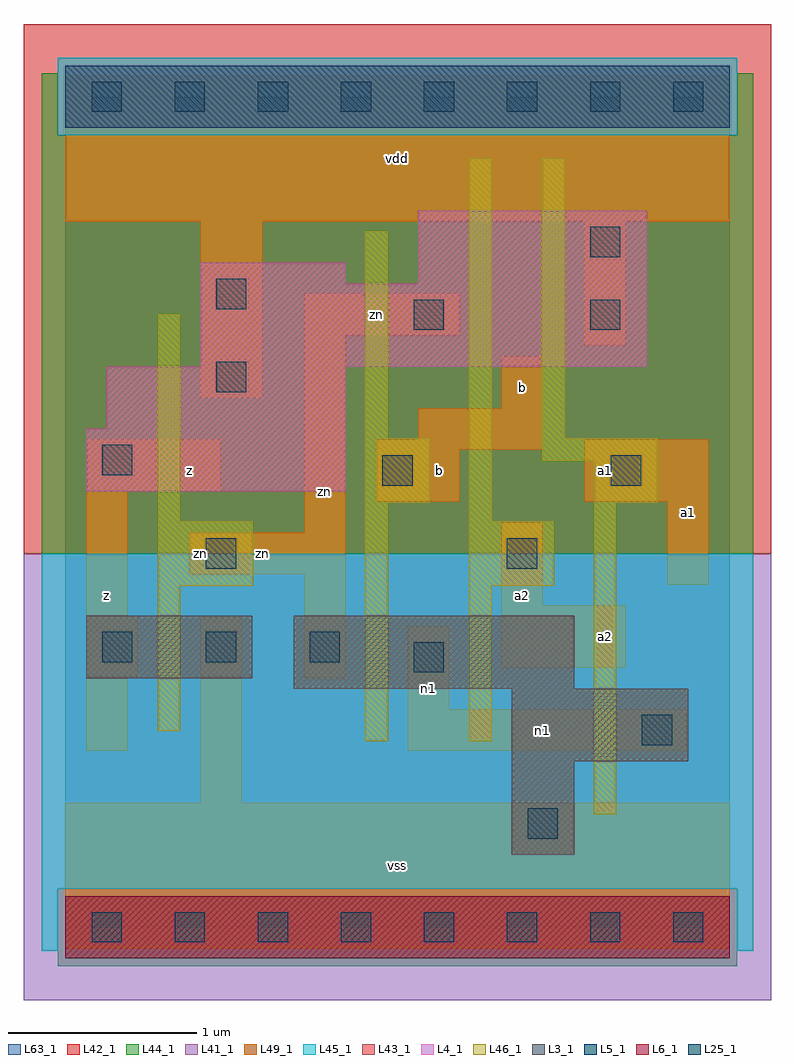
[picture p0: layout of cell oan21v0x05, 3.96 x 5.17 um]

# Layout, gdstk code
import gdstk
lib = gdstk.Library(unit=1e-6, precision=1e-09)
def R(c, l, rs):  # rectangles x0, y0, x1, y1
    for r in rs: c.add(gdstk.rectangle(r[:2], r[2:], *l))
def A(c, l, x, y, w, h, nx, ny, dx, dy):  # array of equal rectangles
    R(c, l, [(x+i*dx, y+j*dy, x+i*dx+w, y+j*dy+h) for i in range(nx) for j in range(ny)])
L3_1 = (3, 1)
L4_1 = (4, 1)
L5_1 = (5, 1)
L6_1 = (6, 1)
L25_1 = (25, 1)
L41_1 = (41, 1)
L42_1 = (42, 1)
L43_1 = (43, 1)
L44_1 = (44, 1)
L45_1 = (45, 1)
L46_1 = (46, 1)
L49_1 = (49, 1)
L63_1 = (63, 1)

oan21v0x05 = lib.new_cell('oan21v0x05')
R(oan21v0x05, L3_1, [(2.365,0.385,2.695,0.88), (2.365,0.88,3.3,1.265), (1.21,1.265,2.695,1.65), (0.11,1.32,0.99,1.65)])
R(oan21v0x05, L4_1, [(0.11,2.31,1.485,2.64), (0.22,2.64,1.485,2.97), (0.715,2.97,3.08,3.41), (0.715,3.41,1.485,3.52), (1.87,3.41,3.08,3.795)])
R(oan21v0x05, L5_1, [(0,4.235,3.52,4.565)])
R(oan21v0x05, L6_1, [(0,-0.165,3.52,0.165)])
A(oan21v0x05, L25_1, 0.14, -0.08, 0.16, 0.16, 8, 2, 0.44, 4.4)
A(oan21v0x05, L25_1, 0.195, 1.405, 0.16, 0.16, 3, 1, 0.55, 0)
R(oan21v0x05, L25_1, [(2.45,0.47,2.61,0.63), (3.055,0.965,3.215,1.125), (1.845,1.35,2.005,1.51), (0.745,1.9,0.905,2.06), (2.34,1.9,2.5,2.06), (1.68,2.34,1.84,2.5), (2.89,2.34,3.05,2.5), (0.195,2.395,0.355,2.555), (0.8,2.835,0.96,2.995), (1.845,3.165,2.005,3.325), (2.78,3.165,2.94,3.325), (0.8,3.275,0.96,3.435), (2.78,3.55,2.94,3.71)])
R(oan21v0x05, L41_1, [(-0.22,-0.385,3.74,1.98)])
R(oan21v0x05, L42_1, [(-0.22,1.98,3.74,4.785)])
R(oan21v0x05, L43_1, [(0,-0.165,3.52,0.165), (2.365,0.385,2.695,0.88), (2.365,0.88,3.3,1.265), (1.21,1.265,2.695,1.65), (0.11,1.32,0.99,1.65), (0.11,2.31,1.485,2.64), (0.22,2.64,1.485,2.97), (0.715,2.97,3.08,3.41), (0.715,3.41,1.485,3.52), (1.87,3.41,3.08,3.795), (0,4.235,3.52,4.565)])
R(oan21v0x05, L44_1, [(-0.04,-0.205,3.56,0.205), (-0.125,1.98,3.645,4.195), (-0.125,4.195,-0.04,4.525), (3.56,4.195,3.645,4.525)])
R(oan21v0x05, L45_1, [(-0.125,-0.125,-0.04,0.205), (3.56,-0.125,3.645,0.205), (-0.125,0.205,3.645,1.98), (-0.04,4.195,3.56,4.605)])
R(oan21v0x05, L46_1, [(2.8,0.6,2.92,2.25), (1.59,0.985,1.71,2.25), (2.14,0.985,2.26,1.81), (0.49,1.04,0.61,1.81), (0.49,1.81,0.995,2.15), (2.14,1.81,2.59,2.15), (0.49,2.15,0.61,3.25), (2.14,2.15,2.26,4.075), (1.59,2.25,1.93,2.59), (2.8,2.25,3.14,2.47), (2.525,2.47,3.14,2.59), (1.59,2.59,1.71,3.69), (2.525,2.59,2.645,4.075)])
R(oan21v0x05, L49_1, [(0,-0.11,3.52,0.66), (0.715,0.66,0.935,1.65), (0.11,0.935,0.33,1.32), (1.815,0.935,3.3,1.155), (1.815,1.155,2.035,1.595), (0.11,1.32,0.385,1.65), (1.265,1.32,1.485,1.87), (2.31,1.375,2.97,1.705), (0.11,1.65,0.33,2.31), (2.31,1.705,2.53,2.145), (3.19,1.815,3.41,2.255), (0.66,1.87,1.485,2.09), (1.265,2.09,1.485,3.135), (1.65,2.255,2.09,2.53), (2.75,2.255,3.41,2.585), (0.11,2.31,0.825,2.585), (1.65,2.53,2.53,2.585), (1.87,2.585,2.53,2.75), (2.31,2.75,2.53,3.025), (0.715,2.805,1.045,3.74), (2.75,3.08,2.97,3.74), (1.265,3.135,2.09,3.355), (0,3.74,3.52,4.51)])
R(oan21v0x05, L63_1, [(0,0,3.52,4.4)])
oan21v0x05.add(gdstk.Label('zn', (0.715,1.98), layer=46, texttype=1))
oan21v0x05.add(gdstk.Label('z', (0.22,1.76), layer=49, texttype=1))
oan21v0x05.add(gdstk.Label('z', (0.66,2.42), layer=49, texttype=1))
oan21v0x05.add(gdstk.Label('zn', (1.045,1.98), layer=49, texttype=1))
oan21v0x05.add(gdstk.Label('zn', (1.375,2.31), layer=49, texttype=1))
oan21v0x05.add(gdstk.Label('vss', (1.76,0.33), layer=49, texttype=1))
oan21v0x05.add(gdstk.Label('n1', (1.925,1.265), layer=49, texttype=1))
oan21v0x05.add(gdstk.Label('a2', (2.42,1.76), layer=49, texttype=1))
oan21v0x05.add(gdstk.Label('b', (1.98,2.42), layer=49, texttype=1))
oan21v0x05.add(gdstk.Label('zn', (1.65,3.245), layer=49, texttype=1))
oan21v0x05.add(gdstk.Label('b', (2.42,2.86), layer=49, texttype=1))
oan21v0x05.add(gdstk.Label('vdd', (1.76,4.07), layer=49, texttype=1))
oan21v0x05.add(gdstk.Label('n1', (2.53,1.045), layer=49, texttype=1))
oan21v0x05.add(gdstk.Label('a2', (2.86,1.54), layer=49, texttype=1))
oan21v0x05.add(gdstk.Label('a1', (3.3,2.2), layer=49, texttype=1))
oan21v0x05.add(gdstk.Label('a1', (2.86,2.42), layer=49, texttype=1))

lib.write_gds('oan21v0x05.gds')
